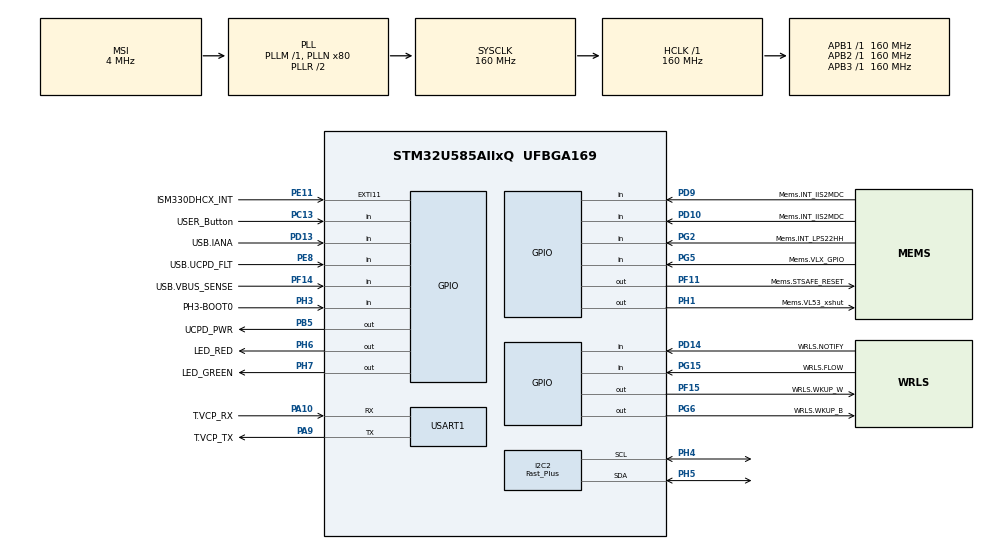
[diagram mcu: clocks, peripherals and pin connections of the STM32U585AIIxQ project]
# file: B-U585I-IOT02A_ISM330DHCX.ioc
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CORTEX_M33_NS.userName=CORTEX_M33
I2C2.AutonomousMode=AUTONOMOUS_MODE_DISABLE
I2C2.I2C_Speed_Mode=I2C_Fast_Plus
I2C2.Timing=0x00701F6B
Mcu.Family=STM32U5
Mcu.Name=STM32U585AIIxQ
Mcu.Package=UFBGA169
NVIC.EXTI11_IRQn=true\:0\:0\:false\:false\:true\:true\:true\:true
NVIC.PriorityGroup=NVIC_PRIORITYGROUP_4
PA10.GPIO_Label=T.VCP_RX
PA10.Mode=Asynchronous
PA10.Signal=USART1_RX
PA11.GPIO_Label=USB.C_P
PA11.Signal=USB_OTG_FS_DM
PA12.GPIO_Label=USB.C_P
PA12.Signal=USB_OTG_FS_DP
PA13\ (JTMS/SWDIO).GPIO_Label=T.SWDIO
PA13\ (JTMS/SWDIO).Signal=DEBUG_JTMS-SWDIO
PA14\ (JTCK/SWCLK).GPIO_Label=T.SWCLK
PA14\ (JTCK/SWCLK).Signal=DEBUG_JTCK-SWCLK
PA15\ (JTDI).GPIO_Label=USB.UCPD_CC1
PA15\ (JTDI).Signal=UCPD1_CC1
PA9.GPIO_Label=T.VCP_TX
PA9.Mode=Asynchronous
PA9.Signal=USART1_TX
PB1.GPIO_Label=MIC.SDIN0
PB1.Signal=MDF1_SDI0
PB10.GPIO_Label=OCTOSPI.R_CLK_P
PB10.Signal=OCTOSPIM_P1_CLK
PB11.GPIO_Label=OCTOSPI.R_NCS
PB11.Signal=OCTOSPIM_P1_NCS
PB12.GPIO_Label=WRLS.SPI2_NSS
PB12.Signal=SPI2_NSS
PB15.GPIO_Label=USB.UCPD_CC2
PB15.Signal=UCPD1_CC2
PB3\ (JTDO/TRACESWO).GPIO_Label=T.SWO
PB3\ (JTDO/TRACESWO).Signal=DEBUG_JTDO-SWO
PB5.GPIO_Label=UCPD_PWR
PB5.Signal=GPIO_Output
PB8.Signal=I2C1_SCL
PB9.Signal=I2C1_SDA
PC10.GPIO_Label=WRLS.UART4_TX
PC10.Signal=UART4_TX
PC11.GPIO_Label=WRLS.UART4_RX
PC11.Signal=UART4_RX
PC13.GPIO_Label=USER_Button
PC13.Signal=GPIO_Input
PC14-OSC32_IN\ (PC14).GPIO_Label=PC14-OSC32_IN
PC14-OSC32_IN\ (PC14).Signal=RCC_OSC32_IN
PC15-OSC32_OUT\ (PC15).GPIO_Label=PC15-OSC32_OUT
PC15-OSC32_OUT\ (PC15).Signal=RCC_OSC32_OUT
PC3.GPIO_Label=OCTOSPI.R_IO6
PC3.Signal=OCTOSPIM_P1_IO6
PD1.GPIO_Label=WRLS.SPI2_SCK
PD1.Signal=SPI2_SCK
PD10.GPIO_Label=Mems.INT_IIS2MDC
PD10.Signal=GPIO_Input
PD13.GPIO_Label=USB.IANA
PD13.Signal=GPIO_Input
PD14.GPIO_Label=WRLS.NOTIFY
PD14.Signal=GPIO_Input
PD3.GPIO_Label=WRLS.SPI2_MISO
PD3.Signal=SPI2_MISO
PD4.GPIO_Label=WRLS.SPI2_MOSI
PD4.Signal=SPI2_MOSI
PD7.GPIO_Label=OCTOSPI.R_IO7
PD7.Signal=OCTOSPIM_P1_IO7
PD9.GPIO_Label=Mems.INT_IIS2MDC
PD9.Signal=GPIO_Input
PE10.GPIO_Label=MIC.SDINx
PE10.Signal=ADF1_SDI0
PE11.GPIO_Label=ISM330DHCX_INT
PE11.Signal=GPXTI11
PE3.GPIO_Label=OCTOSPI.R_DQS
PE3.Signal=OCTOSPIM_P1_DQS
PE8.GPIO_Label=USB.UCPD_FLT
PE8.Signal=GPIO_Input
PE9.GPIO_Label=MIC.CCK0
PE9.Signal=ADF1_CCK0
PF0.GPIO_Label=OCTOSPI.F_IO0
PF0.Signal=OCTOSPIM_P2_IO0
PF1.GPIO_Label=OCTOSPI.F_IO1
PF1.Signal=OCTOSPIM_P2_IO1
PF10.GPIO_Label=MIC.CCK1
PF10.Signal=MDF1_CCK1
PF11.GPIO_Label=Mems.STSAFE_RESET
PF11.Signal=GPIO_Output
PF12.GPIO_Label=OCTOSPI.F_DQS
PF12.Signal=OCTOSPIM_P2_DQS
PF14.GPIO_Label=USB.VBUS_SENSE
PF14.Signal=GPIO_Input
PF15.GPIO_Label=WRLS.WKUP_W
PF15.Signal=GPIO_Output
PF2.GPIO_Label=OCTOSPI.F_IO2
PF2.Signal=OCTOSPIM_P2_IO2
PF3.GPIO_Label=OCTOSPI.F_IO3
PF3.Signal=OCTOSPIM_P2_IO3
PF4.GPIO_Label=OCTOSPI.F_CLK_P
PF4.Signal=OCTOSPIM_P2_CLK
PF6.GPIO_Label=OCTOSPI.R_IO3
PF6.Signal=OCTOSPIM_P1_IO3
PF7.GPIO_Label=OCTOSPI.R_IO2
PF7.Signal=OCTOSPIM_P1_IO2
PF8.GPIO_Label=OCTOSPI.R_IO0
PF8.Signal=OCTOSPIM_P1_IO0
PF9.GPIO_Label=OCTOSPI.R_IO1
PF9.Signal=OCTOSPIM_P1_IO1
PG15.GPIO_Label=WRLS.FLOW
PG15.Signal=GPIO_Input
PG2.GPIO_Label=Mems.INT_LPS22HH
PG2.Signal=GPIO_Input
PG5.GPIO_Label=Mems.VLX_GPIO
PG5.Signal=GPIO_Input
PG6.GPIO_Label=WRLS.WKUP_B
PG6.Signal=GPIO_Output
PH1-OSC_OUT\ (PH1).GPIO_Label=Mems.VL53_xshut
PH1-OSC_OUT\ (PH1).Signal=GPIO_Output
PH10.GPIO_Label=OCTOSPI.F_IO5
PH10.Signal=OCTOSPIM_P2_IO5
PH11.GPIO_Label=OCTOSPI.F_IO6
PH11.Signal=OCTOSPIM_P2_IO6
PH12.GPIO_Label=OCTOSPI.F_IO7
PH12.Signal=OCTOSPIM_P2_IO7
PH2.GPIO_Label=OCTOSPI.R_IO4
PH2.Signal=OCTOSPIM_P1_IO4
PH3-BOOT0.GPIO_Label=PH3-BOOT0
PH3-BOOT0.Signal=GPIO_Input
PH4.GPIO_Mode=GPIO_MODE_AF_OD
PH4.GPIO_Speed=GPIO_SPEED_FREQ_VERY_HIGH
PH4.Mode=I2C
PH4.Signal=I2C2_SCL
PH5.GPIO_Speed=GPIO_SPEED_FREQ_VERY_HIGH
PH5.Mode=I2C
PH5.Signal=I2C2_SDA
PH6.GPIO_Label=LED_RED
PH6.Signal=GPIO_Output
PH7.GPIO_Label=LED_GREEN
PH7.Signal=GPIO_Output
PH9.GPIO_Label=OCTOSPI.F_IO4
PH9.Signal=OCTOSPIM_P2_IO4
PI0.GPIO_Label=OCTOSPI.R_IO5
PI0.Signal=OCTOSPIM_P1_IO5
PI5.GPIO_Label=OCTOSPI.F_NCS
PI5.Signal=OCTOSPIM_P2_NCS
PWR.PowerMode=PWR_SMPS_SUPPLY
ProjectManager.HeapSize=0x200
ProjectManager.StackSize=0x400
ProjectManager.TargetToolchain=STM32CubeIDE
RCC.ADCFreq_Value=16000000
RCC.AHBFreq_Value=160000000
RCC.APB1Freq_Value=160000000
RCC.APB1TimFreq_Value=160000000
RCC.APB2Freq_Value=160000000
RCC.APB2TimFreq_Value=160000000
RCC.APB3Freq_Value=160000000
RCC.CortexFreq_Value=160000000
RCC.DACCLockSelectionVirtual=RCC_DAC1CLKSOURCE_LSI
RCC.DACCLockSelectionVirtualString=RCC_DAC1CLKSOURCE_LSI
RCC.EPOD_VALUE=4000000
RCC.HCLKFreq_Value=160000000
RCC.HSE_VALUE=16000000
RCC.HSI48_VALUE=48000000
RCC.HSI_VALUE=16000000
RCC.LSE_VALUE=32768
RCC.LSIDIV_VALUE=32000
RCC.MSI_VALUE=4000000
RCC.PLLN=80
RCC.SYSCLKFreq_VALUE=160000000
RCC.SYSCLKSource=RCC_SYSCLKSOURCE_PLLCLK
RCC.USBFreq_Value=48000000
RCC.VCOOutputFreq_Value=320000000
USART1.VirtualMode-Asynchronous=VM_ASYNC
VP_LPBAMQUEUE_VS_QUEUE.Mode=QUEUEMODE
VP_LPBAM_VS_SIG1.Mode=SmartRun
VP_LPBAM_VS_SIG4.Mode=LPDMA1
VP_PWR_VS_DBSignals.Mode=DisableDeadBatterySignals
VP_PWR_VS_LPOM.Mode=PowerOptimisation
VP_PWR_VS_SECSignals.Mode=Security/Privilege
board=B-U585I-IOT02A

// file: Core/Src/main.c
/* USER CODE BEGIN Header */
/**
  ******************************************************************************
  * @file           : main.c
  * @brief          : Main program body
  ******************************************************************************
  * @attention
  *
  * Copyright (c) 2022 STMicroelectronics.
  * All rights reserved.
  *
  * This software is licensed under terms that can be found in the LICENSE file
  * in the root directory of this software component.
  * If no LICENSE file comes with this software, it is provided AS-IS.
  *
  ******************************************************************************
  */
/* USER CODE END Header */
#include "main.h"

/* USER CODE BEGIN Includes */
#include <string.h>
#include <stdio.h>
#include "ism330dhcx_reg.h"
#include "cycle_dwt.h"
#include "NanoEdgeAI.h"

/* USER CODE END Includes */

/* USER CODE BEGIN PD */
/************************************************************ NEAI algorithm defines begin ************************************************************/
/************************************************************ Global settings part ************************************************************/
#ifndef AXIS
  #define AXIS                          3                         /* Axis should be defined between 1 and 3 */
#endif
#ifndef SAMPLES
  #define SAMPLES                       256                       /* Should be between 16 & 4096 */
#endif
#define MAX_FIFO_SIZE                   256                       /* The maximum number of data we can get in the FIFO is 512 but here we define max to 256 for our need */
#define FIFO_FULL                       512                       /* FIFO full size */
#define FIFO_WORD                       7                         /* FIFO word size composed of 1 byte which is identification tag & 6 bytes of fixed data */
/************************************************************ Sensor type part ************************************************************/
#define ACCELEROMETER                                             /* Could be either ACCELEROMETER or GYROSCOPE */
/************************************************************ Sensors configuration part ************************************************************/
#ifdef ACCELEROMETER
  #ifndef ACCELEROMETER_ODR
    #define ACCELEROMETER_ODR           ISM330DHCX_XL_ODR_1666Hz  /* Shoud be between ISM330DHCX_XL_ODR_12Hz5 and ISM330DHCX_XL_ODR_6667Hz */
  #endif
  #ifndef ACCELEROMETER_FS
    #define ACCELEROMETER_FS            ISM330DHCX_2g             /* Should be between ISM330DHCX_2g and ISM330DHCX_8g */
  #endif
#else
  #ifndef GYROSCOPE_ODR
    #define GYROSCOPE_ODR               ISM330DHCX_GY_ODR_1666Hz  /* Shoud be between ISM330DHCX_GY_ODR_12Hz5 and ISM330DHCX_GY_ODR_6667Hz */
  #endif
  #ifndef GYROSCOPE_FS
    #define GYROSCOPE_FS                ISM330DHCX_2000dps        /* Should be between ISM330DHCX_125dps and ISM330DHCX_4000dps */
  #endif
#endif
/************************************************************ Datalogger / NEAI mode part ************************************************************/
#ifndef NEAI_MODE
  #define NEAI_MODE                     0                         /* 0: Datalogger mode, 1: NEAI functions mode */
#endif
#if (NEAI_MODE == 1)
  #ifndef NEAI_LEARN_NB
    #define NEAI_LEARN_NB               20                        /* Number of buffers to be learn by the NEAI library */
  #endif
#endif
/************************************************************ NEAI algorithm defines end ************************************************************/
/* USER CODE END PD */

I2C_HandleTypeDef hi2c2;

UART_HandleTypeDef huart1;

/* USER CODE BEGIN PV */
static uint8_t whoamI, rst;
uint8_t neai_similarity = 0, neai_state = 0;
volatile uint8_t drdy = 0;
uint16_t data_left = (uint16_t) SAMPLES, number_read = 0, neai_buffer_ptr = 0, neai_cnt = 0;
float neai_time = 0.0;
static float neai_buffer[AXIS * SAMPLES] = {0.0};
stmdev_ctx_t dev_ctx;

/* USER CODE END PV */

void SystemClock_Config(void);
static void SystemPower_Config(void);
static void MX_GPIO_Init(void);
static void MX_USART1_UART_Init(void);
static void MX_I2C2_Init(void);
/* USER CODE BEGIN PFP */
static int32_t platform_write(void *handle, uint8_t reg, const uint8_t *bufp, uint16_t len);
static int32_t platform_read(void *handle, uint8_t reg, uint8_t *bufp, uint16_t len);
static void ism330dhcx_initialize(void);
static void ism330dhcx_initialize_basics(void);
static void ism330dhcx_initialize_fifo(void);
static void ism330dhcx_get_buffer_from_fifo(uint16_t nb);
static float ism330dhcx_convert_gyro_data_to_mdps(int16_t gyro_raw_data);
static float ism330dhcx_convert_accel_data_to_mg(int16_t accel_raw_data);

/* USER CODE END PFP */

int main(void)
{
  /* USER CODE BEGIN 1 */
  /* Initialize mems driver interface */
  dev_ctx.write_reg = platform_write;
  dev_ctx.read_reg = platform_read;
  dev_ctx.handle = &hi2c2;
  /* USER CODE END 1 */

  /* MCU Configuration--------------------------------------------------------*/

  /* Reset of all peripherals, Initializes the Flash interface and the Systick. */
  HAL_Init();

  /* Configure the system clock */
  SystemClock_Config();

  /* Configure the System Power */
  SystemPower_Config();

  /* Initialize all configured peripherals */
  MX_GPIO_Init();
  MX_USART1_UART_Init();
  MX_I2C2_Init();
  /* USER CODE BEGIN 2 */
  KIN1_InitCycleCounter();
  KIN1_EnableCycleCounter();
  ism330dhcx_initialize();
  if (NEAI_MODE) {
    neai_state = neai_anomalydetection_init();
    printf("Initialize NEAI library. NEAI init return: %d.\n",  neai_state);
  }
  /* USER CODE END 2 */

  /* Infinite loop */
  /* USER CODE BEGIN WHILE */
  while (1)
  {
    uint8_t wtm_flag = 0, status2 = 0;
    uint16_t num = 0;
    if (drdy) {
      /* Reset data ready condition */
      drdy = 0;
      ism330dhcx_read_reg(&dev_ctx, ISM330DHCX_FIFO_STATUS2, &status2, 1);
      wtm_flag = status2 >> 7;
      if (wtm_flag) {
        ism330dhcx_fifo_data_level_get(&dev_ctx, &num);
        if (data_left < num) {
          num = data_left;
        }
        ism330dhcx_get_buffer_from_fifo(num);
        data_left -= num;
        number_read += num;
        if (data_left == 0) {
          ism330dhcx_fifo_mode_set(&dev_ctx, ISM330DHCX_BYPASS_MODE);
#if NEAI_MODE
          uint32_t cycles_cnt = 0;
          if (neai_cnt < NEAI_LEARN_NB) {
            neai_cnt++;
            KIN1_ResetCycleCounter();
            neai_state = neai_anomalydetection_learn(neai_buffer);
            cycles_cnt = KIN1_GetCycleCounter();
            neai_time = (cycles_cnt * 1000000.0) / HAL_RCC_GetSysClockFreq();
            printf("Learn: %d / %d. NEAI learn return: %d. Cycles counter: %ld = %.1f µs at %ld Hz.\n",
                  neai_cnt, NEAI_LEARN_NB, neai_state, cycles_cnt, neai_time, HAL_RCC_GetSysClockFreq());
          }
          else {
            KIN1_ResetCycleCounter();
            neai_state = neai_anomalydetection_detect(neai_buffer, &neai_similarity);
            cycles_cnt = KIN1_GetCycleCounter();
            neai_time = (cycles_cnt * 1000000.0) / HAL_RCC_GetSysClockFreq();
            printf("Similarity: %d / 100. NEAI detect return: %d. Cycles counter: %ld = %.1f µs at %ld Hz.\n",
                  neai_similarity, neai_state, cycles_cnt, neai_time, HAL_RCC_GetSysClockFreq());
          }
#else
          for (uint16_t i = 0; i < AXIS * SAMPLES; i++) {
            printf("%.3f ", neai_buffer[i]);
          }
          printf("\n");
#endif
          data_left = (uint16_t) SAMPLES;
          number_read = 0;
          memset(neai_buffer, 0x00, AXIS * SAMPLES * sizeof(float));
          if (SAMPLES <= MAX_FIFO_SIZE) {
            ism330dhcx_fifo_watermark_set(&dev_ctx, (uint16_t) SAMPLES);
          }
          else {
            ism330dhcx_fifo_watermark_set(&dev_ctx, (uint16_t) MAX_FIFO_SIZE);
          }
          ism330dhcx_fifo_mode_set(&dev_ctx, ISM330DHCX_STREAM_MODE);
        }
        else if (data_left < MAX_FIFO_SIZE) {
          ism330dhcx_fifo_watermark_set(&dev_ctx, data_left);
        }
      }
    }
    /* USER CODE END WHILE */

  }
}

void SystemClock_Config(void)
{
  RCC_OscInitTypeDef RCC_OscInitStruct = {0};
  RCC_ClkInitTypeDef RCC_ClkInitStruct = {0};

  /** Configure the main internal regulator output voltage
  */
  if (HAL_PWREx_ControlVoltageScaling(PWR_REGULATOR_VOLTAGE_SCALE1) != HAL_OK)
  {
    Error_Handler();
  }

  /** Initializes the CPU, AHB and APB buses clocks
  */
  RCC_OscInitStruct.OscillatorType = RCC_OSCILLATORTYPE_MSI;
  RCC_OscInitStruct.MSIState = RCC_MSI_ON;
  RCC_OscInitStruct.MSICalibrationValue = RCC_MSICALIBRATION_DEFAULT;
  RCC_OscInitStruct.MSIClockRange = RCC_MSIRANGE_4;
  RCC_OscInitStruct.PLL.PLLState = RCC_PLL_ON;
  RCC_OscInitStruct.PLL.PLLSource = RCC_PLLSOURCE_MSI;
  RCC_OscInitStruct.PLL.PLLMBOOST = RCC_PLLMBOOST_DIV1;
  RCC_OscInitStruct.PLL.PLLM = 1;
  RCC_OscInitStruct.PLL.PLLN = 80;
  RCC_OscInitStruct.PLL.PLLP = 2;
  RCC_OscInitStruct.PLL.PLLQ = 2;
  RCC_OscInitStruct.PLL.PLLR = 2;
  RCC_OscInitStruct.PLL.PLLRGE = RCC_PLLVCIRANGE_0;
  RCC_OscInitStruct.PLL.PLLFRACN = 0;
  if (HAL_RCC_OscConfig(&RCC_OscInitStruct) != HAL_OK)
  {
    Error_Handler();
  }

  /** Initializes the CPU, AHB and APB buses clocks
  */
  RCC_ClkInitStruct.ClockType = RCC_CLOCKTYPE_HCLK|RCC_CLOCKTYPE_SYSCLK
                              |RCC_CLOCKTYPE_PCLK1|RCC_CLOCKTYPE_PCLK2
                              |RCC_CLOCKTYPE_PCLK3;
  RCC_ClkInitStruct.SYSCLKSource = RCC_SYSCLKSOURCE_PLLCLK;
  RCC_ClkInitStruct.AHBCLKDivider = RCC_SYSCLK_DIV1;
  RCC_ClkInitStruct.APB1CLKDivider = RCC_HCLK_DIV1;
  RCC_ClkInitStruct.APB2CLKDivider = RCC_HCLK_DIV1;
  RCC_ClkInitStruct.APB3CLKDivider = RCC_HCLK_DIV1;

  if (HAL_RCC_ClockConfig(&RCC_ClkInitStruct, FLASH_LATENCY_4) != HAL_OK)
  {
    Error_Handler();
  }
}

/**
  * @brief Power Configuration
  * @retval None
  */
static void SystemPower_Config(void)
{
  HAL_PWREx_EnableVddIO2();

  /*
   * Disable the internal Pull-Up in Dead Battery pins of UCPD peripheral
   */
  HAL_PWREx_DisableUCPDDeadBattery();

  /*
   * Switch to SMPS regulator instead of LDO
   */
  if (HAL_PWREx_ConfigSupply(PWR_SMPS_SUPPLY) != HAL_OK)
  {
    Error_Handler();
  }
}

static void MX_I2C2_Init(void)
{

  hi2c2.Instance = I2C2;
  hi2c2.Init.Timing = 0x00701F6B;
  hi2c2.Init.OwnAddress1 = 0;
  hi2c2.Init.AddressingMode = I2C_ADDRESSINGMODE_7BIT;
  hi2c2.Init.DualAddressMode = I2C_DUALADDRESS_DISABLE;
  hi2c2.Init.OwnAddress2 = 0;
  hi2c2.Init.OwnAddress2Masks = I2C_OA2_NOMASK;
  hi2c2.Init.GeneralCallMode = I2C_GENERALCALL_DISABLE;
  hi2c2.Init.NoStretchMode = I2C_NOSTRETCH_DISABLE;
  if (HAL_I2C_Init(&hi2c2) != HAL_OK)
  {
    Error_Handler();
  }

  /** Configure Analogue filter
  */
  if (HAL_I2CEx_ConfigAnalogFilter(&hi2c2, I2C_ANALOGFILTER_ENABLE) != HAL_OK)
  {
    Error_Handler();
  }

  /** Configure Digital filter
  */
  if (HAL_I2CEx_ConfigDigitalFilter(&hi2c2, 0) != HAL_OK)
  {
    Error_Handler();
  }

  /** I2C Fast mode Plus enable
  */
  if (HAL_I2CEx_ConfigFastModePlus(&hi2c2, I2C_FASTMODEPLUS_ENABLE) != HAL_OK)
  {
    Error_Handler();
  }

}

static void MX_USART1_UART_Init(void)
{

  huart1.Instance = USART1;
  huart1.Init.BaudRate = 115200;
  huart1.Init.WordLength = UART_WORDLENGTH_8B;
  huart1.Init.StopBits = UART_STOPBITS_1;
  huart1.Init.Parity = UART_PARITY_NONE;
  huart1.Init.Mode = UART_MODE_TX_RX;
  huart1.Init.HwFlowCtl = UART_HWCONTROL_NONE;
  huart1.Init.OverSampling = UART_OVERSAMPLING_16;
  huart1.Init.OneBitSampling = UART_ONE_BIT_SAMPLE_DISABLE;
  huart1.Init.ClockPrescaler = UART_PRESCALER_DIV1;
  huart1.AdvancedInit.AdvFeatureInit = UART_ADVFEATURE_NO_INIT;
  if (HAL_UART_Init(&huart1) != HAL_OK)
  {
    Error_Handler();
  }
  if (HAL_UARTEx_SetTxFifoThreshold(&huart1, UART_TXFIFO_THRESHOLD_1_8) != HAL_OK)
  {
    Error_Handler();
  }
  if (HAL_UARTEx_SetRxFifoThreshold(&huart1, UART_RXFIFO_THRESHOLD_1_8) != HAL_OK)
  {
    Error_Handler();
  }
  if (HAL_UARTEx_DisableFifoMode(&huart1) != HAL_OK)
  {
    Error_Handler();
  }

}

static void MX_GPIO_Init(void)
{
  GPIO_InitTypeDef GPIO_InitStruct = {0};

  /* GPIO Ports Clock Enable */
  __HAL_RCC_GPIOG_CLK_ENABLE();
  __HAL_RCC_GPIOC_CLK_ENABLE();
  __HAL_RCC_GPIOA_CLK_ENABLE();
  __HAL_RCC_GPIOI_CLK_ENABLE();
  __HAL_RCC_GPIOH_CLK_ENABLE();
  __HAL_RCC_GPIOB_CLK_ENABLE();
  __HAL_RCC_GPIOD_CLK_ENABLE();
  __HAL_RCC_GPIOE_CLK_ENABLE();
  __HAL_RCC_GPIOF_CLK_ENABLE();

  /*Configure GPIO pin Output Level */
  HAL_GPIO_WritePin(UCPD_PWR_GPIO_Port, UCPD_PWR_Pin, GPIO_PIN_RESET);

  /*Configure GPIO pin Output Level */
  HAL_GPIO_WritePin(GPIOH, LED_RED_Pin|LED_GREEN_Pin|Mems_VL53_xshut_Pin, GPIO_PIN_RESET);

  /*Configure GPIO pin Output Level */
  HAL_GPIO_WritePin(WRLS_WKUP_B_GPIO_Port, WRLS_WKUP_B_Pin, GPIO_PIN_RESET);

  /*Configure GPIO pin Output Level */
  HAL_GPIO_WritePin(GPIOF, Mems_STSAFE_RESET_Pin|WRLS_WKUP_W_Pin, GPIO_PIN_RESET);

  /*Configure GPIO pins : WRLS_FLOW_Pin Mems_VLX_GPIO_Pin Mems_INT_LPS22HH_Pin */
  GPIO_InitStruct.Pin = WRLS_FLOW_Pin|Mems_VLX_GPIO_Pin|Mems_INT_LPS22HH_Pin;
  GPIO_InitStruct.Mode = GPIO_MODE_INPUT;
  GPIO_InitStruct.Pull = GPIO_NOPULL;
  HAL_GPIO_Init(GPIOG, &GPIO_InitStruct);

  /*Configure GPIO pins : WRLS_UART4_RX_Pin WRLS_UART4_TX_Pin */
  GPIO_InitStruct.Pin = WRLS_UART4_RX_Pin|WRLS_UART4_TX_Pin;
  GPIO_InitStruct.Mode = GPIO_MODE_AF_PP;
  GPIO_InitStruct.Pull = GPIO_NOPULL;
  GPIO_InitStruct.Speed = GPIO_SPEED_FREQ_LOW;
  GPIO_InitStruct.Alternate = GPIO_AF8_UART4;
  HAL_GPIO_Init(GPIOC, &GPIO_InitStruct);

  /*Configure GPIO pin : USB_UCPD_CC1_Pin */
  GPIO_InitStruct.Pin = USB_UCPD_CC1_Pin;
  GPIO_InitStruct.Mode = GPIO_MODE_ANALOG;
  GPIO_InitStruct.Pull = GPIO_NOPULL;
  HAL_GPIO_Init(USB_UCPD_CC1_GPIO_Port, &GPIO_InitStruct);

  /*Configure GPIO pin : OCTOSPI_F_NCS_Pin */
  GPIO_InitStruct.Pin = OCTOSPI_F_NCS_Pin;
  GPIO_InitStruct.Mode = GPIO_MODE_AF_PP;
  GPIO_InitStruct.Pull = GPIO_NOPULL;
  GPIO_InitStruct.Speed = GPIO_SPEED_FREQ_VERY_HIGH;
  GPIO_InitStruct.Alternate = GPIO_AF5_OCTOSPI2;
  HAL_GPIO_Init(OCTOSPI_F_NCS_GPIO_Port, &GPIO_InitStruct);

  /*Configure GPIO pin : OCTOSPI_R_IO5_Pin */
  GPIO_InitStruct.Pin = OCTOSPI_R_IO5_Pin;
  GPIO_InitStruct.Mode = GPIO_MODE_AF_PP;
  GPIO_InitStruct.Pull = GPIO_NOPULL;
  GPIO_InitStruct.Speed = GPIO_SPEED_FREQ_VERY_HIGH;
  GPIO_InitStruct.Alternate = GPIO_AF3_OCTOSPI1;
  HAL_GPIO_Init(OCTOSPI_R_IO5_GPIO_Port, &GPIO_InitStruct);

  /*Configure GPIO pins : OCTOSPI_F_IO7_Pin OCTOSPI_F_IO5_Pin OCTOSPI_F_IO6_Pin OCTOSPI_F_IO4_Pin */
  GPIO_InitStruct.Pin = OCTOSPI_F_IO7_Pin|OCTOSPI_F_IO5_Pin|OCTOSPI_F_IO6_Pin|OCTOSPI_F_IO4_Pin;
  GPIO_InitStruct.Mode = GPIO_MODE_AF_PP;
  GPIO_InitStruct.Pull = GPIO_NOPULL;
  GPIO_InitStruct.Speed = GPIO_SPEED_FREQ_VERY_HIGH;
  GPIO_InitStruct.Alternate = GPIO_AF5_OCTOSPI2;
  HAL_GPIO_Init(GPIOH, &GPIO_InitStruct);

  /*Configure GPIO pin : PH3_BOOT0_Pin */
  GPIO_InitStruct.Pin = PH3_BOOT0_Pin;
  GPIO_InitStruct.Mode = GPIO_MODE_INPUT;
  GPIO_InitStruct.Pull = GPIO_NOPULL;
  HAL_GPIO_Init(PH3_BOOT0_GPIO_Port, &GPIO_InitStruct);

  /*Configure GPIO pin : UCPD_PWR_Pin */
  GPIO_InitStruct.Pin = UCPD_PWR_Pin;
  GPIO_InitStruct.Mode = GPIO_MODE_OUTPUT_PP;
  GPIO_InitStruct.Pull = GPIO_NOPULL;
  GPIO_InitStruct.Speed = GPIO_SPEED_FREQ_LOW;
  HAL_GPIO_Init(UCPD_PWR_GPIO_Port, &GPIO_InitStruct);

  /*Configure GPIO pins : WRLS_SPI2_MOSI_Pin WRLS_SPI2_MISO_Pin WRLS_SPI2_SCK_Pin */
  GPIO_InitStruct.Pin = WRLS_SPI2_MOSI_Pin|WRLS_SPI2_MISO_Pin|WRLS_SPI2_SCK_Pin;
  GPIO_InitStruct.Mode = GPIO_MODE_AF_PP;
  GPIO_InitStruct.Pull = GPIO_NOPULL;
  GPIO_InitStruct.Speed = GPIO_SPEED_FREQ_LOW;
  GPIO_InitStruct.Alternate = GPIO_AF5_SPI2;
  HAL_GPIO_Init(GPIOD, &GPIO_InitStruct);

  /*Configure GPIO pin : OCTOSPI_R_DQS_Pin */
  GPIO_InitStruct.Pin = OCTOSPI_R_DQS_Pin;
  GPIO_InitStruct.Mode = GPIO_MODE_AF_PP;
  GPIO_InitStruct.Pull = GPIO_NOPULL;
  GPIO_InitStruct.Speed = GPIO_SPEED_FREQ_VERY_HIGH;
  GPIO_InitStruct.Alternate = GPIO_AF3_OCTOSPI1;
  HAL_GPIO_Init(OCTOSPI_R_DQS_GPIO_Port, &GPIO_InitStruct);

  /*Configure GPIO pins : PB9 PB8 */
  GPIO_InitStruct.Pin = GPIO_PIN_9|GPIO_PIN_8;
  GPIO_InitStruct.Mode = GPIO_MODE_AF_OD;
  GPIO_InitStruct.Pull = GPIO_NOPULL;
  GPIO_InitStruct.Speed = GPIO_SPEED_FREQ_LOW;
  GPIO_InitStruct.Alternate = GPIO_AF4_I2C1;
  HAL_GPIO_Init(GPIOB, &GPIO_InitStruct);

  /*Configure GPIO pin : OCTOSPI_R_IO7_Pin */
  GPIO_InitStruct.Pin = OCTOSPI_R_IO7_Pin;
  GPIO_InitStruct.Mode = GPIO_MODE_AF_PP;
  GPIO_InitStruct.Pull = GPIO_NOPULL;
  GPIO_InitStruct.Speed = GPIO_SPEED_FREQ_VERY_HIGH;
  GPIO_InitStruct.Alternate = GPIO_AF10_OCTOSPI1;
  HAL_GPIO_Init(OCTOSPI_R_IO7_GPIO_Port, &GPIO_InitStruct);

  /*Configure GPIO pins : OCTOSPI_F_IO0_Pin OCTOSPI_F_IO1_Pin OCTOSPI_F_IO2_Pin OCTOSPI_F_IO3_Pin
                           OCTOSPI_F_CLK_P_Pin OCTOSPI_F_DQS_Pin */
  GPIO_InitStruct.Pin = OCTOSPI_F_IO0_Pin|OCTOSPI_F_IO1_Pin|OCTOSPI_F_IO2_Pin|OCTOSPI_F_IO3_Pin
                          |OCTOSPI_F_CLK_P_Pin|OCTOSPI_F_DQS_Pin;
  GPIO_InitStruct.Mode = GPIO_MODE_AF_PP;
  GPIO_InitStruct.Pull = GPIO_NOPULL;
  GPIO_InitStruct.Speed = GPIO_SPEED_FREQ_VERY_HIGH;
  GPIO_InitStruct.Alternate = GPIO_AF5_OCTOSPI2;
  HAL_GPIO_Init(GPIOF, &GPIO_InitStruct);

  /*Configure GPIO pin : USER_Button_Pin */
  GPIO_InitStruct.Pin = USER_Button_Pin;
  GPIO_InitStruct.Mode = GPIO_MODE_INPUT;
  GPIO_InitStruct.Pull = GPIO_NOPULL;
  HAL_GPIO_Init(USER_Button_GPIO_Port, &GPIO_InitStruct);

  /*Configure GPIO pins : LED_RED_Pin LED_GREEN_Pin Mems_VL53_xshut_Pin */
  GPIO_InitStruct.Pin = LED_RED_Pin|LED_GREEN_Pin|Mems_VL53_xshut_Pin;
  GPIO_InitStruct.Mode = GPIO_MODE_OUTPUT_PP;
  GPIO_InitStruct.Pull = GPIO_NOPULL;
  GPIO_InitStruct.Speed = GPIO_SPEED_FREQ_LOW;
  HAL_GPIO_Init(GPIOH, &GPIO_InitStruct);

  /*Configure GPIO pins : OCTOSPI_R_IO0_Pin OCTOSPI_R_IO2_Pin OCTOSPI_R_IO1_Pin OCTOSPI_R_IO3_Pin */
  GPIO_InitStruct.Pin = OCTOSPI_R_IO0_Pin|OCTOSPI_R_IO2_Pin|OCTOSPI_R_IO1_Pin|OCTOSPI_R_IO3_Pin;
  GPIO_InitStruct.Mode = GPIO_MODE_AF_PP;
  GPIO_InitStruct.Pull = GPIO_NOPULL;
  GPIO_InitStruct.Speed = GPIO_SPEED_FREQ_VERY_HIGH;
  GPIO_InitStruct.Alternate = GPIO_AF10_OCTOSPI1;
  HAL_GPIO_Init(GPIOF, &GPIO_InitStruct);

  /*Configure GPIO pin : OCTOSPI_R_IO4_Pin */
  GPIO_InitStruct.Pin = OCTOSPI_R_IO4_Pin;
  GPIO_InitStruct.Mode = GPIO_MODE_AF_PP;
  GPIO_InitStruct.Pull = GPIO_NOPULL;
  GPIO_InitStruct.Speed = GPIO_SPEED_FREQ_VERY_HIGH;
  GPIO_InitStruct.Alternate = GPIO_AF3_OCTOSPI1;
  HAL_GPIO_Init(OCTOSPI_R_IO4_GPIO_Port, &GPIO_InitStruct);

  /*Configure GPIO pins : USB_C_P_Pin USB_C_PA11_Pin */
  GPIO_InitStruct.Pin = USB_C_P_Pin|USB_C_PA11_Pin;
  GPIO_InitStruct.Mode = GPIO_MODE_AF_PP;
  GPIO_InitStruct.Pull = GPIO_NOPULL;
  GPIO_InitStruct.Speed = GPIO_SPEED_FREQ_LOW;
  GPIO_InitStruct.Alternate = GPIO_AF10_USB;
  HAL_GPIO_Init(GPIOA, &GPIO_InitStruct);

  /*Configure GPIO pin : MIC_CCK1_Pin */
  GPIO_InitStruct.Pin = MIC_CCK1_Pin;
  GPIO_InitStruct.Mode = GPIO_MODE_AF_PP;
  GPIO_InitStruct.Pull = GPIO_NOPULL;
  GPIO_InitStruct.Speed = GPIO_SPEED_FREQ_LOW;
  GPIO_InitStruct.Alternate = GPIO_AF6_MDF1;
  HAL_GPIO_Init(MIC_CCK1_GPIO_Port, &GPIO_InitStruct);

  /*Configure GPIO pins : MIC_SDINx_Pin MIC_CCK0_Pin */
  GPIO_InitStruct.Pin = MIC_SDINx_Pin|MIC_CCK0_Pin;
  GPIO_InitStruct.Mode = GPIO_MODE_AF_PP;
  GPIO_InitStruct.Pull = GPIO_NOPULL;
  GPIO_InitStruct.Speed = GPIO_SPEED_FREQ_LOW;
  GPIO_InitStruct.Alternate = GPIO_AF3_ADF1;
  HAL_GPIO_Init(GPIOE, &GPIO_InitStruct);

  /*Configure GPIO pin : WRLS_WKUP_B_Pin */
  GPIO_InitStruct.Pin = WRLS_WKUP_B_Pin;
  GPIO_InitStruct.Mode = GPIO_MODE_OUTPUT_PP;
  GPIO_InitStruct.Pull = GPIO_NOPULL;
  GPIO_InitStruct.Speed = GPIO_SPEED_FREQ_LOW;
  HAL_GPIO_Init(WRLS_WKUP_B_GPIO_Port, &GPIO_InitStruct);

  /*Configure GPIO pins : WRLS_NOTIFY_Pin Mems_INT_IIS2MDC_Pin USB_IANA_Pin Mems_INT_IIS2MDCD9_Pin */
  GPIO_InitStruct.Pin = WRLS_NOTIFY_Pin|Mems_INT_IIS2MDC_Pin|USB_IANA_Pin|Mems_INT_IIS2MDCD9_Pin;
  GPIO_InitStruct.Mode = GPIO_MODE_INPUT;
  GPIO_InitStruct.Pull = GPIO_NOPULL;
  HAL_GPIO_Init(GPIOD, &GPIO_InitStruct);

  /*Configure GPIO pin : OCTOSPI_R_IO6_Pin */
  GPIO_InitStruct.Pin = OCTOSPI_R_IO6_Pin;
  GPIO_InitStruct.Mode = GPIO_MODE_AF_PP;
  GPIO_InitStruct.Pull = GPIO_NOPULL;
  GPIO_InitStruct.Speed = GPIO_SPEED_FREQ_VERY_HIGH;
  GPIO_InitStruct.Alternate = GPIO_AF10_OCTOSPI1;
  HAL_GPIO_Init(OCTOSPI_R_IO6_GPIO_Port, &GPIO_InitStruct);

  /*Configure GPIO pin : USB_UCPD_FLT_Pin */
  GPIO_InitStruct.Pin = USB_UCPD_FLT_Pin;
  GPIO_InitStruct.Mode = GPIO_MODE_INPUT;
  GPIO_InitStruct.Pull = GPIO_NOPULL;
  HAL_GPIO_Init(USB_UCPD_FLT_GPIO_Port, &GPIO_InitStruct);

  /*Configure GPIO pins : OCTOSPI_R_CLK_P_Pin OCTOSPI_R_NCS_Pin */
  GPIO_InitStruct.Pin = OCTOSPI_R_CLK_P_Pin|OCTOSPI_R_NCS_Pin;
  GPIO_InitStruct.Mode = GPIO_MODE_AF_PP;
  GPIO_InitStruct.Pull = GPIO_NOPULL;
  GPIO_InitStruct.Speed = GPIO_SPEED_FREQ_VERY_HIGH;
  GPIO_InitStruct.Alternate = GPIO_AF10_OCTOSPI1;
  HAL_GPIO_Init(GPIOB, &GPIO_InitStruct);

  /*Configure GPIO pin : USB_VBUS_SENSE_Pin */
  GPIO_InitStruct.Pin = USB_VBUS_SENSE_Pin;
  GPIO_InitStruct.Mode = GPIO_MODE_INPUT;
  GPIO_InitStruct.Pull = GPIO_NOPULL;
  HAL_GPIO_Init(USB_VBUS_SENSE_GPIO_Port, &GPIO_InitStruct);

  /*Configure GPIO pin : WRLS_SPI2_NSS_Pin */
  GPIO_InitStruct.Pin = WRLS_SPI2_NSS_Pin;
  GPIO_InitStruct.Mode = GPIO_MODE_AF_PP;
  GPIO_InitStruct.Pull = GPIO_NOPULL;
  GPIO_InitStruct.Speed = GPIO_SPEED_FREQ_LOW;
  GPIO_InitStruct.Alternate = GPIO_AF5_SPI2;
  HAL_GPIO_Init(WRLS_SPI2_NSS_GPIO_Port, &GPIO_InitStruct);

  /*Configure GPIO pin : USB_UCPD_CC2_Pin */
  GPIO_InitStruct.Pin = USB_UCPD_CC2_Pin;
  GPIO_InitStruct.Mode = GPIO_MODE_ANALOG;
  GPIO_InitStruct.Pull = GPIO_NOPULL;
  HAL_GPIO_Init(USB_UCPD_CC2_GPIO_Port, &GPIO_InitStruct);

  /*Configure GPIO pins : Mems_STSAFE_RESET_Pin WRLS_WKUP_W_Pin */
  GPIO_InitStruct.Pin = Mems_STSAFE_RESET_Pin|WRLS_WKUP_W_Pin;
  GPIO_InitStruct.Mode = GPIO_MODE_OUTPUT_PP;
  GPIO_InitStruct.Pull = GPIO_NOPULL;
  GPIO_InitStruct.Speed = GPIO_SPEED_FREQ_LOW;
  HAL_GPIO_Init(GPIOF, &GPIO_InitStruct);

  /*Configure GPIO pin : ISM330DHCX_INT_Pin */
  GPIO_InitStruct.Pin = ISM330DHCX_INT_Pin;
  GPIO_InitStruct.Mode = GPIO_MODE_IT_RISING;
  GPIO_InitStruct.Pull = GPIO_NOPULL;
  HAL_GPIO_Init(ISM330DHCX_INT_GPIO_Port, &GPIO_InitStruct);

  /*Configure GPIO pin : MIC_SDIN0_Pin */
  GPIO_InitStruct.Pin = MIC_SDIN0_Pin;
  GPIO_InitStruct.Mode = GPIO_MODE_AF_PP;
  GPIO_InitStruct.Pull = GPIO_NOPULL;
  GPIO_InitStruct.Speed = GPIO_SPEED_FREQ_LOW;
  GPIO_InitStruct.Alternate = GPIO_AF6_MDF1;
  HAL_GPIO_Init(MIC_SDIN0_GPIO_Port, &GPIO_InitStruct);

  /* EXTI interrupt init*/
  HAL_NVIC_SetPriority(EXTI11_IRQn, 0, 0);
  HAL_NVIC_EnableIRQ(EXTI11_IRQn);

}

/* USER CODE BEGIN 4 */
/**
  * @brief  Redirecting stdout to USART1 which is connected on the STLINK port
  * @retval
  * @param
  */
int __io_putchar(int ch)
{
 uint8_t c[1];
 c[0] = ch & 0x00FF;
 HAL_UART_Transmit(&huart1, &*c, 1, 10);
 return ch;
}

/**
  * @brief  EXTI line detection callback.
  * @param  GPIO_Pin Specifies the port pin connected to corresponding EXTI line.
  * @retval None
  */
void HAL_GPIO_EXTI_Rising_Callback(uint16_t GPIO_Pin)
{
  switch(GPIO_Pin) {
  case ISM330DHCX_INT_Pin:
    drdy = 1;
    break;
  }
}

/*
 * @brief  Write generic device register (platform dependent)
 *
 * @param  handle    customizable argument. In this examples is used in
 *                   order to select the correct sensor bus handler.
 * @param  reg       register to write
 * @param  bufp      pointer to data to write in register reg
 * @param  len       number of consecutive register to write
 *
 */
static int32_t platform_write(void *handle, uint8_t reg, const uint8_t *bufp, uint16_t len)
{
  HAL_I2C_Mem_Write(handle, ISM330DHCX_I2C_ADD_H, reg, I2C_MEMADD_SIZE_8BIT, (uint8_t*) bufp, len, 1000);
  return 0;
}

/*
 * @brief  Read generic device register (platform dependent)
 *
 * @param  handle    customizable argument. In this examples is used in
 *                   order to select the correct sensor bus handler.
 * @param  reg       register to read
 * @param  bufp      pointer to buffer that store the data read
 * @param  len       number of consecutive register to read
 *
 */
static int32_t platform_read(void *handle, uint8_t reg, uint8_t *bufp, uint16_t len)
{
  HAL_I2C_Mem_Read(handle, ISM330DHCX_I2C_ADD_H, reg, I2C_MEMADD_SIZE_8BIT, bufp, len, 1000);
  return 0;
}

/*
 * @brief  Initialize ISM330DHCX sensor interface
 *
 * @param  No
 *
 * @return No
 *
 */
static void ism330dhcx_initialize()
{
  ism330dhcx_initialize_basics();
#ifdef ACCELEROMETER
  /* Accelelerometer configuration */
  ism330dhcx_xl_data_rate_set(&dev_ctx, ACCELEROMETER_ODR);
  ism330dhcx_xl_full_scale_set(&dev_ctx, ACCELEROMETER_FS);
#else
  /* Gyroscope configuration */
  ism330dhcx_gy_data_rate_set(&dev_ctx, GYROSCOPE_ODR);
  ism330dhcx_gy_full_scale_set(&dev_ctx, GYROSCOPE_FS);
#endif
  ism330dhcx_initialize_fifo();
}

/*
 * @brief  Initialize ISM330DHCX basics
 *
 * @param  No
 *
 * @return No
 *
 */
static void ism330dhcx_initialize_basics()
{
  /* Check device ID */
  whoamI = 0;

  do {
    /* Wait sensor boot time */
    HAL_Delay(10);
    ism330dhcx_device_id_get(&dev_ctx, &whoamI);
  } while (whoamI != ISM330DHCX_ID);

  /* Restore default configuration */
  ism330dhcx_reset_set(&dev_ctx, PROPERTY_ENABLE);

  do {
    ism330dhcx_reset_get(&dev_ctx, &rst);
  } while (rst);

  /* Start device configuration. */
  ism330dhcx_device_conf_set(&dev_ctx, PROPERTY_ENABLE);
}

/*
 * @brief  Initialize ISM330DHCX internal FIFO
 *
 * @param  No
 *
 * @return No
 *
 */
static void ism330dhcx_initialize_fifo()
{
#ifdef ACCELEROMETER
  /* Batch odr config */
  ism330dhcx_fifo_xl_batch_set(&dev_ctx, ACCELEROMETER_ODR);
  ism330dhcx_fifo_gy_batch_set(&dev_ctx, 0);
#else
  /* Batch odr config */
  ism330dhcx_fifo_xl_batch_set(&dev_ctx, 0);
  ism330dhcx_fifo_gy_batch_set(&dev_ctx, GYROSCOPE_ODR);
#endif
  /* FIFO MODE */
  ism330dhcx_fifo_mode_set(&dev_ctx, ISM330DHCX_BYPASS_MODE);
  HAL_Delay(10);
  ism330dhcx_fifo_mode_set(&dev_ctx, ISM330DHCX_STREAM_MODE);
  /* Watermark config */
  if (SAMPLES <= MAX_FIFO_SIZE) {
    ism330dhcx_fifo_watermark_set(&dev_ctx, (uint16_t) SAMPLES);
  }
  else {
    ism330dhcx_fifo_watermark_set(&dev_ctx, (uint16_t) MAX_FIFO_SIZE);
  }
  uint8_t ctrl = 0x08;
  ism330dhcx_write_reg(&dev_ctx, ISM330DHCX_INT1_CTRL, (uint8_t *) &ctrl, 1);
}

/*
 * @brief  Get accelerometer or gyroscope data from
 *         ISM330DHCX using the internal FIFO buffer
 *
 * @param  No
 *
 * @return No
 *
 */
static void ism330dhcx_get_buffer_from_fifo(uint16_t nb)
{
  uint8_t reg_tag = 0;
  uint8_t buff_tmp[nb * FIFO_WORD];
  /*
   * The data stored in FIFO are accessible from dedicated registers and each FIFO word is composed of 7
   * bytes: one tag byte (FIFO_DATA_OUT_TAG (78h)), in order to identify the sensor, and 6 bytes of fixed data
   * (FIFO_DATA_OUT registers from (79h) to (7Eh))
   * So, here we read the fifo in only one transaction in order to save time
   */
  ism330dhcx_read_reg(&dev_ctx, ISM330DHCX_FIFO_DATA_OUT_TAG, buff_tmp, nb * FIFO_WORD);
  for (uint16_t i = 0; i < nb; i++) {
    /* According to the datasheet, the TAG_SENSOR is the 5 MSB of the FIFO_DATA_OUT_TAG register, so we shift 3 bits to the right */
    reg_tag = buff_tmp[FIFO_WORD * i] >> 3;
    if(reg_tag == ISM330DHCX_XL_NC_TAG) {
      for(uint8_t j = 0; j < AXIS; j++) {
	neai_buffer[(AXIS * neai_buffer_ptr) + (AXIS * i) + j] = ism330dhcx_convert_accel_data_to_mg((uint16_t) buff_tmp[(FIFO_WORD * i) + (2 * j) + 2] << 8 | buff_tmp[(FIFO_WORD * i) + (2 * j) + 1]);
      }
    }
    else if(reg_tag == ISM330DHCX_GYRO_NC_TAG) {
      for(uint8_t j = 0; j < AXIS; j++) {
	neai_buffer[(AXIS * neai_buffer_ptr) + (AXIS * i) + j] = ism330dhcx_convert_gyro_data_to_mdps((uint16_t) buff_tmp[(FIFO_WORD * i) + (2 * j) + 2] << 8 | buff_tmp[(FIFO_WORD * i) + (2 * j) + 1]);
      }
    }
  }
  neai_buffer_ptr += nb;
  if (neai_buffer_ptr == SAMPLES) {
    neai_buffer_ptr = 0;
  }
}

/*
 * @brief  Convert gyroscope raw data to milli degrees per second (mdps)
 *
 * @param  gyro_raw_data: which is gyroscope raw data
 *                        depending on the full scale selected
 *
 * @return The converted value in milli degrees per second (mdps)
 *
 */
static float ism330dhcx_convert_gyro_data_to_mdps(int16_t gyro_raw_data)
{
  float gyro_data_mdps = 0.0;
#ifdef GYROSCOPE
  switch (GYROSCOPE_FS)
  {
  case ISM330DHCX_125dps:
    gyro_data_mdps = ism330dhcx_from_fs125dps_to_mdps(gyro_raw_data);
    break;
  case ISM330DHCX_250dps:
    gyro_data_mdps = ism330dhcx_from_fs250dps_to_mdps(gyro_raw_data);
    break;
  case ISM330DHCX_500dps:
    gyro_data_mdps = ism330dhcx_from_fs500dps_to_mdps(gyro_raw_data);
    break;
  case ISM330DHCX_1000dps:
    gyro_data_mdps = ism330dhcx_from_fs1000dps_to_mdps(gyro_raw_data);
    break;
  case ISM330DHCX_2000dps:
    gyro_data_mdps = ism330dhcx_from_fs2000dps_to_mdps(gyro_raw_data);
    break;
  case ISM330DHCX_4000dps:
    gyro_data_mdps = ism330dhcx_from_fs4000dps_to_mdps(gyro_raw_data);
    break;
  default:
    gyro_data_mdps = 0.0;
    break;
  }
#endif
  return gyro_data_mdps;
}

/*
 * @brief  Convert accelerometer raw data to milli-G' (mg)
 *
 * @param  accel_raw_data: which is accelerometer raw data
 *                        depending on the full scale selected
 *
 * @return The converted value in milli-G' (mg)
 *
 */
static float ism330dhcx_convert_accel_data_to_mg(int16_t accel_raw_data)
{
  float accel_data_mg = 0.0;
#ifdef ACCELEROMETER
  switch (ACCELEROMETER_FS)
  {
  case ISM330DHCX_2g:
    accel_data_mg = ism330dhcx_from_fs2g_to_mg(accel_raw_data);
    break;
  case ISM330DHCX_4g:
    accel_data_mg = ism330dhcx_from_fs4g_to_mg(accel_raw_data);
    break;
  case ISM330DHCX_8g:
    accel_data_mg = ism330dhcx_from_fs8g_to_mg(accel_raw_data);
    break;
  case ISM330DHCX_16g:
    accel_data_mg = ism330dhcx_from_fs16g_to_mg(accel_raw_data);
    break;
  default:
    accel_data_mg = 0.0;
    break;
  }
#endif
  return accel_data_mg;
}

/* USER CODE END 4 */

void Error_Handler(void)
{
  __disable_irq();
  while (1)
  {
  }
}
